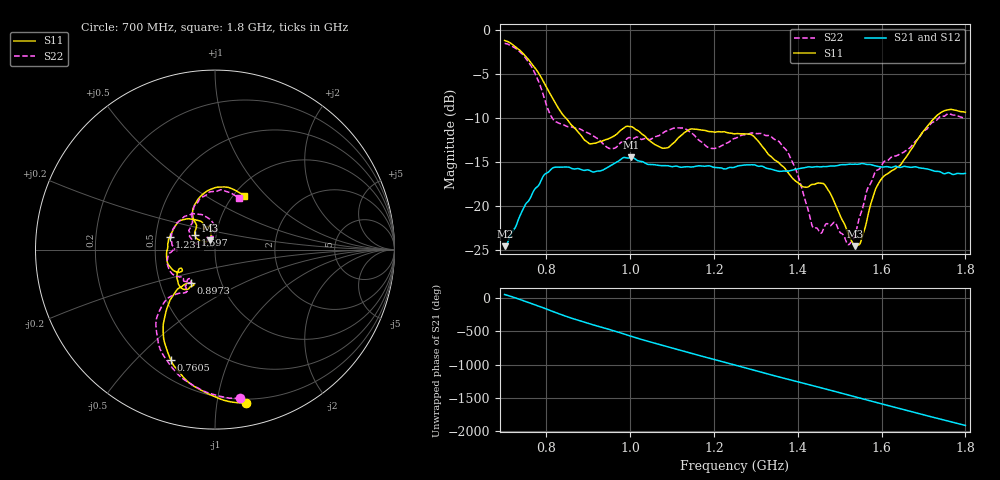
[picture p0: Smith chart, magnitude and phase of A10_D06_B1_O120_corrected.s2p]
! Created with skrf 1.9.0 (http://scikit-rf.org).
# Hz S RI R 50.0
!freq ReS11 ImS11 ReS21 ImS21 ReS12 ImS12 ReS22 ImS22
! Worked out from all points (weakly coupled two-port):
!   1601 points, 700 MHz to 1.8 GHz, reference 50 ohm
!   highest |S21| = -14.45 dB at 1.002 GHz (marker M1); lowest = -24.5 dB at 700.7 MHz (marker M2)
!   lowest |S11| = -24.5 dB at 1.537 GHz (marker M3), VSWR 1.13, Z = 47.1 + j4.99 ohm
!   |S11| at or under -10 dB: 846.4 MHz to 1.726 GHz (879.5 MHz wide, 68.4 % of centre)
!   |S22| runs from -24.4 to -1.5 dB; largest |S21 - S12| = 0.0034
!   S11 on the Smith chart (normalised r, x): 700 MHz: 0.17, -1.21; 760.5 MHz: 0.29, -0.64; 897.3 MHz: 0.71, -0.28; 1.231 GHz: 0.59, +0.09; 1.597 GHz: 0.79, +0.13; 1.8 GHz: 1.12, +0.76
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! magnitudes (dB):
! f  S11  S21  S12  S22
! 700 MHz  -1.2  -24.5  -24.3  -1.5
! 700.7 MHz  -1.2  -24.5  -24.2  -1.5
! 760.5 MHz  -3.6  -19.1  -19.0  -3.9
! 816.2 MHz  -7.9  -15.6  -15.7  -10.2
! 883.6 MHz  -12.0  -15.9  -15.8  -11.3
! 897.3 MHz  -12.7  -15.9  -16.0  -11.6
! 953 MHz  -12.2  -15.4  -15.4  -13.5
! 1.002 GHz  -11.0  -14.4  -14.6  -12.3
! 1.067 GHz  -13.2  -15.4  -15.3  -12.0
! 1.231 GHz  -11.7  -15.7  -15.6  -12.8
! 1.25 GHz  -11.8  -15.6  -15.5  -12.3
! 1.357 GHz  -15.2  -16.0  -16.0  -12.7
! 1.395 GHz  -17.2  -15.8  -15.8  -15.8
! 1.434 GHz  -17.5  -15.6  -15.5  -22.1
! 1.468 GHz  -17.8  -15.5  -15.5  -22.0
! 1.521 GHz  -23.3  -15.2  -15.2  -24.4
! 1.537 GHz  -24.5  -15.2  -15.2  -23.3
! 1.567 GHz  -21.1  -15.3  -15.2  -18.0
! 1.597 GHz  -17.1  -15.5  -15.5  -15.7
! 1.617 GHz  -16.2  -15.6  -15.5  -14.7
! 1.735 GHz  -9.6  -16.0  -16.1  -10.0
! 1.8 GHz  -9.3  -16.3  -16.3  -10.0
